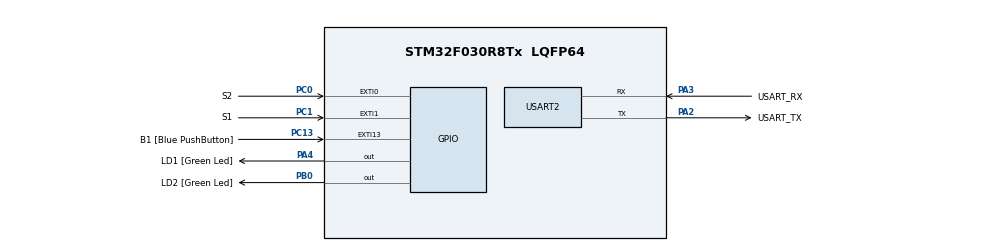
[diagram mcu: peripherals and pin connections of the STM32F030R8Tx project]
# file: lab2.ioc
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Mcu.Family=STM32F0
Mcu.Name=STM32F030R8Tx
Mcu.Package=LQFP64
NVIC.EXTI0_1_IRQn=true\:0\:0\:false\:false\:true\:true\:true\:true
PA13.GPIO_Label=TMS
PA13.Mode=Serial_Wire
PA13.Signal=SYS_SWDIO
PA14.GPIO_Label=TCK
PA14.Mode=Serial_Wire
PA14.Signal=SYS_SWCLK
PA2.GPIO_Label=USART_TX
PA2.GPIO_Mode=GPIO_MODE_AF_PP
PA2.GPIO_PuPd=GPIO_NOPULL
PA2.GPIO_Speed=GPIO_SPEED_FREQ_LOW
PA2.Mode=Asynchronous
PA2.Signal=USART2_TX
PA3.GPIO_Label=USART_RX
PA3.GPIO_Mode=GPIO_MODE_AF_PP
PA3.GPIO_PuPd=GPIO_NOPULL
PA3.GPIO_Speed=GPIO_SPEED_FREQ_LOW
PA3.Mode=Asynchronous
PA3.Signal=USART2_RX
PA4.GPIO_Label=LD1 [Green Led]
PA4.Signal=GPIO_Output
PB0.GPIO_Label=LD2 [Green Led]
PB0.Signal=GPIO_Output
PC0.GPIO_Label=S2
PC0.GPIO_PuPd=GPIO_PULLUP
PC0.Signal=GPXTI0
PC1.GPIO_Label=S1
PC1.GPIO_PuPd=GPIO_PULLUP
PC1.Signal=GPXTI1
PC13.GPIO_Label=B1 [Blue PushButton]
PC13.GPIO_ModeDefaultEXTI=GPIO_MODE_IT_FALLING
PC13.Signal=GPXTI13
PC14-OSC32_IN.Mode=LSE-External-Oscillator
PC14-OSC32_IN.Signal=RCC_OSC32_IN
PC15-OSC32_OUT.Mode=LSE-External-Oscillator
PC15-OSC32_OUT.Signal=RCC_OSC32_OUT
PF0-OSC_IN.Mode=HSE-External-Clock-Source
PF0-OSC_IN.Signal=RCC_OSC_IN
PF1-OSC_OUT.Signal=RCC_OSC_OUT
ProjectManager.HeapSize=0x200
ProjectManager.StackSize=0x400
ProjectManager.TargetToolchain=STM32CubeIDE
RCC.AHBFreq_Value=48000000
RCC.APB1Freq_Value=48000000
RCC.APB1TimFreq_Value=48000000
RCC.HCLKFreq_Value=48000000
RCC.PLLMUL=RCC_PLL_MUL12
RCC.SYSCLKFreq_VALUE=48000000
RCC.SYSCLKSource=RCC_SYSCLKSOURCE_PLLCLK
USART2.VirtualMode-Asynchronous=VM_ASYNC
board=NUCLEO-F030R8

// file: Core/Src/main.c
/* USER CODE BEGIN Header */
/**
  ******************************************************************************
  * @file           : main.c
  * @brief          : Main program body
  ******************************************************************************
  * @attention
  *
  * Copyright (c) 2023 STMicroelectronics.
  * All rights reserved.
  *
  * This software is licensed under terms that can be found in the LICENSE file
  * in the root directory of this software component.
  * If no LICENSE file comes with this software, it is provided AS-IS.
  *
  ******************************************************************************
  */
/* USER CODE END Header */
#include "main.h"

/* USER CODE BEGIN PD */
#define LED_TIME_BLINK 300
#define LED_TIME_SHORT 100
#define LED_TIME_LONG  1000
#define TIME_5 5
#define VZESTUPNA_HRANA 0x7fff
/* USER CODE END PD */

void SystemClock_Config(void);
static void MX_GPIO_Init(void);
static void MX_USART2_UART_Init(void);

/* USER CODE BEGIN 0 */
volatile uint32_t Tick;
/* USER CODE END 0 */

int main(void)
{

  /* MCU Configuration--------------------------------------------------------*/

  /* Reset of all peripherals, Initializes the Flash interface and the Systick. */
  LL_APB1_GRP2_EnableClock(LL_APB1_GRP2_PERIPH_SYSCFG);
  LL_APB1_GRP1_EnableClock(LL_APB1_GRP1_PERIPH_PWR);

  /* Configure the system clock */
  SystemClock_Config();

  /* Initialize all configured peripherals */
  MX_GPIO_Init();
  MX_USART2_UART_Init();
  /* USER CODE BEGIN 2 */
  LL_SYSTICK_EnableIT();
  /* USER CODE END 2 */

  /* Infinite loop */
  /* USER CODE BEGIN WHILE */
  while (1)
  {
	 blikac();
	 tlacitka();
    /* USER CODE END WHILE */
  }
}

void SystemClock_Config(void)
{
  LL_FLASH_SetLatency(LL_FLASH_LATENCY_1);
  while(LL_FLASH_GetLatency() != LL_FLASH_LATENCY_1)
  {
  }
  LL_RCC_HSI_Enable();

   /* Wait till HSI is ready */
  while(LL_RCC_HSI_IsReady() != 1)
  {

  }
  LL_RCC_HSI_SetCalibTrimming(16);
  LL_RCC_PLL_ConfigDomain_SYS(LL_RCC_PLLSOURCE_HSI_DIV_2, LL_RCC_PLL_MUL_12);
  LL_RCC_PLL_Enable();

   /* Wait till PLL is ready */
  while(LL_RCC_PLL_IsReady() != 1)
  {

  }
  LL_RCC_SetAHBPrescaler(LL_RCC_SYSCLK_DIV_1);
  LL_RCC_SetAPB1Prescaler(LL_RCC_APB1_DIV_1);
  LL_RCC_SetSysClkSource(LL_RCC_SYS_CLKSOURCE_PLL);

   /* Wait till System clock is ready */
  while(LL_RCC_GetSysClkSource() != LL_RCC_SYS_CLKSOURCE_STATUS_PLL)
  {

  }
  LL_Init1msTick(48000000);
  LL_SetSystemCoreClock(48000000);
}

static void MX_USART2_UART_Init(void)
{

  LL_USART_InitTypeDef USART_InitStruct = {0};

  LL_GPIO_InitTypeDef GPIO_InitStruct = {0};

  /* Peripheral clock enable */
  LL_APB1_GRP1_EnableClock(LL_APB1_GRP1_PERIPH_USART2);

  LL_AHB1_GRP1_EnableClock(LL_AHB1_GRP1_PERIPH_GPIOA);
  /**USART2 GPIO Configuration
  PA2   ------> USART2_TX
  PA3   ------> USART2_RX
  */
  GPIO_InitStruct.Pin = USART_TX_Pin;
  GPIO_InitStruct.Mode = LL_GPIO_MODE_ALTERNATE;
  GPIO_InitStruct.Speed = LL_GPIO_SPEED_FREQ_LOW;
  GPIO_InitStruct.OutputType = LL_GPIO_OUTPUT_PUSHPULL;
  GPIO_InitStruct.Pull = LL_GPIO_PULL_NO;
  GPIO_InitStruct.Alternate = LL_GPIO_AF_1;
  LL_GPIO_Init(USART_TX_GPIO_Port, &GPIO_InitStruct);

  GPIO_InitStruct.Pin = USART_RX_Pin;
  GPIO_InitStruct.Mode = LL_GPIO_MODE_ALTERNATE;
  GPIO_InitStruct.Speed = LL_GPIO_SPEED_FREQ_LOW;
  GPIO_InitStruct.OutputType = LL_GPIO_OUTPUT_PUSHPULL;
  GPIO_InitStruct.Pull = LL_GPIO_PULL_NO;
  GPIO_InitStruct.Alternate = LL_GPIO_AF_1;
  LL_GPIO_Init(USART_RX_GPIO_Port, &GPIO_InitStruct);

  USART_InitStruct.BaudRate = 38400;
  USART_InitStruct.DataWidth = LL_USART_DATAWIDTH_8B;
  USART_InitStruct.StopBits = LL_USART_STOPBITS_1;
  USART_InitStruct.Parity = LL_USART_PARITY_NONE;
  USART_InitStruct.TransferDirection = LL_USART_DIRECTION_TX_RX;
  USART_InitStruct.HardwareFlowControl = LL_USART_HWCONTROL_NONE;
  USART_InitStruct.OverSampling = LL_USART_OVERSAMPLING_16;
  LL_USART_Init(USART2, &USART_InitStruct);
  LL_USART_DisableIT_CTS(USART2);
  LL_USART_ConfigAsyncMode(USART2);
  LL_USART_Enable(USART2);

}

static void MX_GPIO_Init(void)
{
  LL_EXTI_InitTypeDef EXTI_InitStruct = {0};
  LL_GPIO_InitTypeDef GPIO_InitStruct = {0};

  /* GPIO Ports Clock Enable */
  LL_AHB1_GRP1_EnableClock(LL_AHB1_GRP1_PERIPH_GPIOC);
  LL_AHB1_GRP1_EnableClock(LL_AHB1_GRP1_PERIPH_GPIOF);
  LL_AHB1_GRP1_EnableClock(LL_AHB1_GRP1_PERIPH_GPIOA);
  LL_AHB1_GRP1_EnableClock(LL_AHB1_GRP1_PERIPH_GPIOB);

  /**/
  LL_GPIO_ResetOutputPin(LD1_GPIO_Port, LD1_Pin);

  /**/
  LL_GPIO_ResetOutputPin(LD2_GPIO_Port, LD2_Pin);

  /**/
  LL_SYSCFG_SetEXTISource(LL_SYSCFG_EXTI_PORTC, LL_SYSCFG_EXTI_LINE13);

  /**/
  LL_SYSCFG_SetEXTISource(LL_SYSCFG_EXTI_PORTC, LL_SYSCFG_EXTI_LINE0);

  /**/
  LL_SYSCFG_SetEXTISource(LL_SYSCFG_EXTI_PORTC, LL_SYSCFG_EXTI_LINE1);

  /**/
  LL_GPIO_SetPinPull(B1_GPIO_Port, B1_Pin, LL_GPIO_PULL_NO);

  /**/
  LL_GPIO_SetPinPull(S2_GPIO_Port, S2_Pin, LL_GPIO_PULL_UP);

  /**/
  LL_GPIO_SetPinPull(S1_GPIO_Port, S1_Pin, LL_GPIO_PULL_UP);

  /**/
  LL_GPIO_SetPinMode(B1_GPIO_Port, B1_Pin, LL_GPIO_MODE_INPUT);

  /**/
  LL_GPIO_SetPinMode(S2_GPIO_Port, S2_Pin, LL_GPIO_MODE_INPUT);

  /**/
  LL_GPIO_SetPinMode(S1_GPIO_Port, S1_Pin, LL_GPIO_MODE_INPUT);

  /**/
  EXTI_InitStruct.Line_0_31 = LL_EXTI_LINE_13;
  EXTI_InitStruct.LineCommand = ENABLE;
  EXTI_InitStruct.Mode = LL_EXTI_MODE_IT;
  EXTI_InitStruct.Trigger = LL_EXTI_TRIGGER_FALLING;
  LL_EXTI_Init(&EXTI_InitStruct);

  /**/
  EXTI_InitStruct.Line_0_31 = LL_EXTI_LINE_0;
  EXTI_InitStruct.LineCommand = ENABLE;
  EXTI_InitStruct.Mode = LL_EXTI_MODE_IT;
  EXTI_InitStruct.Trigger = LL_EXTI_TRIGGER_RISING;
  LL_EXTI_Init(&EXTI_InitStruct);

  /**/
  EXTI_InitStruct.Line_0_31 = LL_EXTI_LINE_1;
  EXTI_InitStruct.LineCommand = ENABLE;
  EXTI_InitStruct.Mode = LL_EXTI_MODE_IT;
  EXTI_InitStruct.Trigger = LL_EXTI_TRIGGER_RISING;
  LL_EXTI_Init(&EXTI_InitStruct);

  /**/
  GPIO_InitStruct.Pin = LD1_Pin;
  GPIO_InitStruct.Mode = LL_GPIO_MODE_OUTPUT;
  GPIO_InitStruct.Speed = LL_GPIO_SPEED_FREQ_LOW;
  GPIO_InitStruct.OutputType = LL_GPIO_OUTPUT_PUSHPULL;
  GPIO_InitStruct.Pull = LL_GPIO_PULL_NO;
  LL_GPIO_Init(LD1_GPIO_Port, &GPIO_InitStruct);

  /**/
  GPIO_InitStruct.Pin = LD2_Pin;
  GPIO_InitStruct.Mode = LL_GPIO_MODE_OUTPUT;
  GPIO_InitStruct.Speed = LL_GPIO_SPEED_FREQ_LOW;
  GPIO_InitStruct.OutputType = LL_GPIO_OUTPUT_PUSHPULL;
  GPIO_InitStruct.Pull = LL_GPIO_PULL_NO;
  LL_GPIO_Init(LD2_GPIO_Port, &GPIO_InitStruct);

  /* EXTI interrupt init*/
  NVIC_SetPriority(EXTI0_1_IRQn, 0);
  NVIC_EnableIRQ(EXTI0_1_IRQn);

}

/* USER CODE BEGIN 4 */
void blikac(void)
{
	static uint32_t delay;
	if (Tick > delay + LED_TIME_BLINK) {
		LL_GPIO_TogglePin(LD1_GPIO_Port,LD1_Pin);
		delay = Tick;
	}
}

void tlacitka(void)
{
	static uint32_t delay2;
	/*static uint32_t old_s1;
	static uint32_t old_s2;*/
	static uint32_t off_time;
	static uint16_t debounce = 0xffff;
	/*uint32_t new_s1 = LL_GPIO_IsInputPinSet(S1_GPIO_Port, S1_Pin);
	uint32_t new_s2 = LL_GPIO_IsInputPinSet(S2_GPIO_Port, S2_Pin);

	if (old_s1 && !new_s1) { // falling edge S1
		off_time = Tick + LED_TIME_LONG;
	  	LL_GPIO_SetOutputPin(LD2_GPIO_Port, LD2_Pin);
	}
	old_s1 = new_s1;

	if (old_s2 && !new_s2) { // falling edge S2
		off_time = Tick + LED_TIME_SHORT;
		LL_GPIO_SetOutputPin(LD2_GPIO_Port, LD2_Pin);
	}
	old_s2 = new_s2;*/

	if (Tick > off_time) {
		LL_GPIO_ResetOutputPin(LD2_GPIO_Port, LD2_Pin);
	}

	if (Tick > delay2 + TIME_5) {
		debounce <<= 1;
		if (LL_GPIO_IsInputPinSet(S1_GPIO_Port, S1_Pin)) {
			debounce |= 0x0001;
		}
		if (debounce == VZESTUPNA_HRANA){
			off_time = Tick + LED_TIME_SHORT;
			LL_GPIO_SetOutputPin(LD2_GPIO_Port, LD2_Pin);
		}
	}
}

/* USER CODE END 4 */

void Error_Handler(void)
{
  __disable_irq();
  while (1)
  {
  }
}
